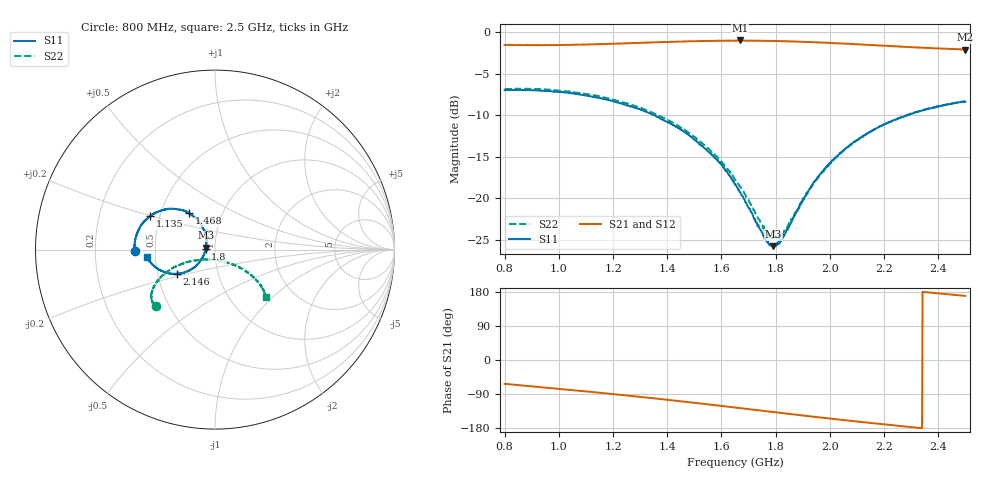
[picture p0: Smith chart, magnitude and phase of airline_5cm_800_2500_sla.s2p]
!Keysight Technologies N9950B: A.12.38
!Date: Friday, 14 April 2023 14:45:29
!Timezone: (UTC-06:00) Central Time (US & Canada)
!Model: N9950B
!Serial: MY61131330
!GPS Latitude:
!GPS Longitude:
!GPS TimeStamp: 0001-01-01 00:00:00Z
!GPS Seconds Since Last Read: 0
!CHECKSUM:0614635008
!Correction: S11(ON U)S21(ON U)S12(ON U)S22(ON U)
!S2P File: Measurements:S11,S21,S12,S22:
# Hz S DB R 50
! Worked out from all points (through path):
!   1001 points, 800 MHz to 2.5 GHz, reference 50 ohm
!   highest |S21| = -1.00 dB at 1.669 GHz (marker M1); lowest = -2.1 dB at 2.5 GHz (marker M2)
!   group delay of S21, straight-line fit = 216 ps
!   lowest |S11| = -25.7 dB at 1.791 GHz (marker M3), VSWR 1.11, Z = 45.2 + j0.926 ohm
!   |S11| at or under -10 dB: 1.352 GHz to 2.286 GHz (934.3 MHz wide, 51.4 % of centre)
!   |S22| runs from -24.8 to -6.8 dB; largest |S21 - S12| = 0.0053
!   S11 on the Smith chart (normalised r, x): 800 MHz: 0.38, -0.01; 1.135 GHz: 0.44, +0.20; 1.468 GHz: 0.70, +0.30; 1.8 GHz: 0.90, +0.01; 2.146 GHz: 0.63, -0.18; 2.5 GHz: 0.45, -0.04
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8e8  -6.98 -178.7  -1.54 -63.0  -1.52 -63.0  -6.82 -136.1
9.411e8  -7.04 169.1  -1.57 -72.2  -1.56 -72.2  -6.91 -140.9
1.0839e9  -7.52 156.8  -1.49 -81.7  -1.48 -81.9  -7.36 -145.5
1.1349e9  -7.83 152.4  -1.45 -85.4  -1.44 -85.4  -7.61 -146.9
1.2624e9  -8.89 141.4  -1.32 -94.6  -1.32 -94.5  -8.68 -151.1
1.3678e9  -10.25 133.0  -1.22 -102.6  -1.20 -102.6  -10.00 -154.4
1.4681e9  -12.10 125.3  -1.12 -110.4  -1.11 -110.3  -11.83 -156.6
1.5922e9  -15.70 119.2  -1.04 -120.6  -1.02 -120.6  -15.28 -156.3
1.65e9  -18.35 119.1  -1.03 -125.4  -1.02 -125.4  -17.77 -152.0
1.6687e9  -19.23 119.9  -1.00 -127.0  -1.02 -126.9  -18.59 -149.5
1.7622e9  -24.86 148.5  -1.05 -134.8  -1.03 -134.9  -23.84 -121.6
1.7911e9  -25.74 168.6  -1.06 -137.3  -1.05 -137.4  -24.76 -101.4
1.7996e9  -25.57 176.1  -1.06 -138.0  -1.07 -137.9  -24.75 -95.3
1.8336e9  -24.32 -161.7  -1.08 -140.8  -1.09 -140.9  -23.71 -71.1
1.8948e9  -20.43 -144.6  -1.16 -145.8  -1.15 -146.0  -20.42 -48.1
1.9339e9  -18.47 -140.6  -1.19 -149.2  -1.18 -149.2  -18.50 -42.0
1.9815e9  -16.40 -139.4  -1.27 -153.0  -1.25 -153.0  -16.49 -37.7
2.0376e9  -14.60 -141.3  -1.35 -157.5  -1.36 -157.5  -14.61 -35.4
2.1464e9  -12.05 -147.5  -1.53 -166.0  -1.53 -166.0  -12.05 -35.3
2.2178e9  -10.82 -152.4  -1.66 -171.3  -1.67 -171.2  -10.81 -36.5
2.3538e9  -9.31 -162.7  -1.88 179.0  -1.86 179.1  -9.28 -39.4
2.5e9  -8.37 -174.0  -2.10 169.1  -2.06 169.0  -8.30 -42.9
